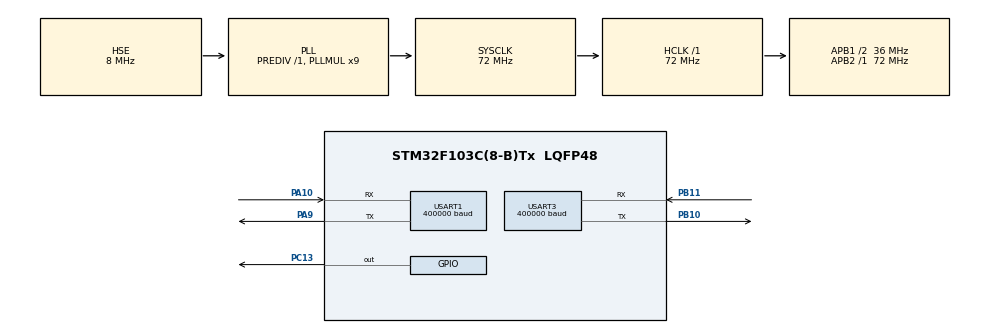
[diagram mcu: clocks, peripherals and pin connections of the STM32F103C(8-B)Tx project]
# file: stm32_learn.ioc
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Mcu.Family=STM32F1
Mcu.Name=STM32F103C(8-B)Tx
Mcu.Package=LQFP48
NVIC.PriorityGroup=NVIC_PRIORITYGROUP_4
NVIC.USART1_IRQn=true\:0\:0\:false\:false\:true\:true\:true\:true
PA10.Mode=Asynchronous
PA10.Signal=USART1_RX
PA13.Mode=Trace_Asynchronous_SW
PA13.Signal=SYS_JTMS-SWDIO
PA14.Mode=Trace_Asynchronous_SW
PA14.Signal=SYS_JTCK-SWCLK
PA9.Mode=Asynchronous
PA9.Signal=USART1_TX
PB10.Mode=Asynchronous
PB10.Signal=USART3_TX
PB11.Mode=Asynchronous
PB11.Signal=USART3_RX
PB3.Mode=Trace_Asynchronous_SW
PB3.Signal=SYS_JTDO-TRACESWO
PC13-TAMPER-RTC.Signal=GPIO_Output
PD0-OSC_IN.Mode=HSE-External-Oscillator
PD0-OSC_IN.Signal=RCC_OSC_IN
PD1-OSC_OUT.Mode=HSE-External-Oscillator
PD1-OSC_OUT.Signal=RCC_OSC_OUT
ProjectManager.HeapSize=0x200
ProjectManager.StackSize=0x400
ProjectManager.TargetToolchain=Makefile
RCC.AHBFreq_Value=72000000
RCC.APB1CLKDivider=RCC_HCLK_DIV2
RCC.APB1Freq_Value=36000000
RCC.APB1TimFreq_Value=72000000
RCC.APB2Freq_Value=72000000
RCC.APB2TimFreq_Value=72000000
RCC.HCLKFreq_Value=72000000
RCC.PLLMUL=RCC_PLL_MUL9
RCC.PLLSourceVirtual=RCC_PLLSOURCE_HSE
RCC.SYSCLKFreq_VALUE=72000000
RCC.SYSCLKSource=RCC_SYSCLKSOURCE_PLLCLK
RCC.USBFreq_Value=72000000
USART1.BaudRate=400000
USART1.VirtualMode=VM_ASYNC
USART3.BaudRate=400000
USART3.VirtualMode=VM_ASYNC
board=custom

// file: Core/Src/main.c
/* USER CODE BEGIN Header */
/**
  ******************************************************************************
  * @file           : main.c
  * @brief          : Main program body
  ******************************************************************************
  * @attention
  *
  * Copyright (c) 2022 STMicroelectronics.
  * All rights reserved.
  *
  * This software is licensed under terms that can be found in the LICENSE file
  * in the root directory of this software component.
  * If no LICENSE file comes with this software, it is provided AS-IS.
  *
  ******************************************************************************
  */
/* USER CODE END Header */
#include "main.h"
#include "usart.h"
#include "gpio.h"

/* USER CODE BEGIN Includes */
#include <stdio.h>
#include <stdlib.h>
/* USER CODE END Includes */

void SystemClock_Config(void);

/* USER CODE BEGIN 0 */
void SWO_PrintChar(char const c, uint8_t const portNo)
{
  volatile int timeout;

  /* Check if Trace Control Register (ITM->TCR at 0xE0000E80) is set */
  /* check Trace Control Register if ITM trace is enabled*/
  if ((ITM->TCR & ITM_TCR_ITMENA_Msk) == 0)
  {
    return; /* not enabled? */
  }
  /* Check if the requested channel stimulus port (ITM->TER at 0xE0000E00) is enabled */
  /* check Trace Enable Register if requested port is enabled */
  if ((ITM->TER & (1ul << portNo)) == 0)
  {
    return; /* requested port not enabled? */
  }
  timeout = 5000; /* arbitrary timeout value */
  while (ITM->PORT[0].u32 == 0)
  {
    /* Wait until STIMx is ready, then send data */
    if (--timeout == 0)
    {
      return; /* not able to send */
    }
  }
  ITM->PORT[0].u8 = (uint8_t)c;
}
void SWO_PrintString(char const *s, uint8_t const portNumber)
{
  while (*s != '\0')
  {
    SWO_PrintChar(*s++, portNumber);
  }
}
void printString(char const *str)
{
  SWO_PrintString(str, 0);
}
/* USER CODE END 0 */

int main(void)
{

  /* MCU Configuration--------------------------------------------------------*/

  /* Reset of all peripherals, Initializes the Flash interface and the Systick. */
  HAL_Init();

  /* Configure the system clock */
  SystemClock_Config();

  /* Initialize all configured peripherals */
  MX_GPIO_Init();
  MX_USART1_UART_Init();
  MX_USART3_UART_Init();
  /* USER CODE BEGIN 2 */
  printString("start");
  /* USER CODE END 2 */

  /* Infinite loop */
  while (1)
  {

    /* USER CODE BEGIN 3 */

    HAL_GPIO_WritePin(GPIOC, GPIO_PIN_13, 1);
    printString("led off\n");
    HAL_Delay(500);
    HAL_GPIO_WritePin(GPIOC, GPIO_PIN_13, 0);
    printString("led on\n");
    HAL_Delay(500);
  }
  /* USER CODE END 3 */
}

void SystemClock_Config(void)
{
  RCC_OscInitTypeDef RCC_OscInitStruct = {0};
  RCC_ClkInitTypeDef RCC_ClkInitStruct = {0};

  /** Initializes the RCC Oscillators according to the specified parameters
  * in the RCC_OscInitTypeDef structure.
  */
  RCC_OscInitStruct.OscillatorType = RCC_OSCILLATORTYPE_HSE;
  RCC_OscInitStruct.HSEState = RCC_HSE_ON;
  RCC_OscInitStruct.HSEPredivValue = RCC_HSE_PREDIV_DIV1;
  RCC_OscInitStruct.HSIState = RCC_HSI_ON;
  RCC_OscInitStruct.PLL.PLLState = RCC_PLL_ON;
  RCC_OscInitStruct.PLL.PLLSource = RCC_PLLSOURCE_HSE;
  RCC_OscInitStruct.PLL.PLLMUL = RCC_PLL_MUL9;
  if (HAL_RCC_OscConfig(&RCC_OscInitStruct) != HAL_OK)
  {
    Error_Handler();
  }

  /** Initializes the CPU, AHB and APB buses clocks
  */
  RCC_ClkInitStruct.ClockType = RCC_CLOCKTYPE_HCLK|RCC_CLOCKTYPE_SYSCLK
                              |RCC_CLOCKTYPE_PCLK1|RCC_CLOCKTYPE_PCLK2;
  RCC_ClkInitStruct.SYSCLKSource = RCC_SYSCLKSOURCE_PLLCLK;
  RCC_ClkInitStruct.AHBCLKDivider = RCC_SYSCLK_DIV1;
  RCC_ClkInitStruct.APB1CLKDivider = RCC_HCLK_DIV2;
  RCC_ClkInitStruct.APB2CLKDivider = RCC_HCLK_DIV1;

  if (HAL_RCC_ClockConfig(&RCC_ClkInitStruct, FLASH_LATENCY_2) != HAL_OK)
  {
    Error_Handler();
  }
}

void Error_Handler(void)
{
  __disable_irq();
  while (1)
  {
  }
}
